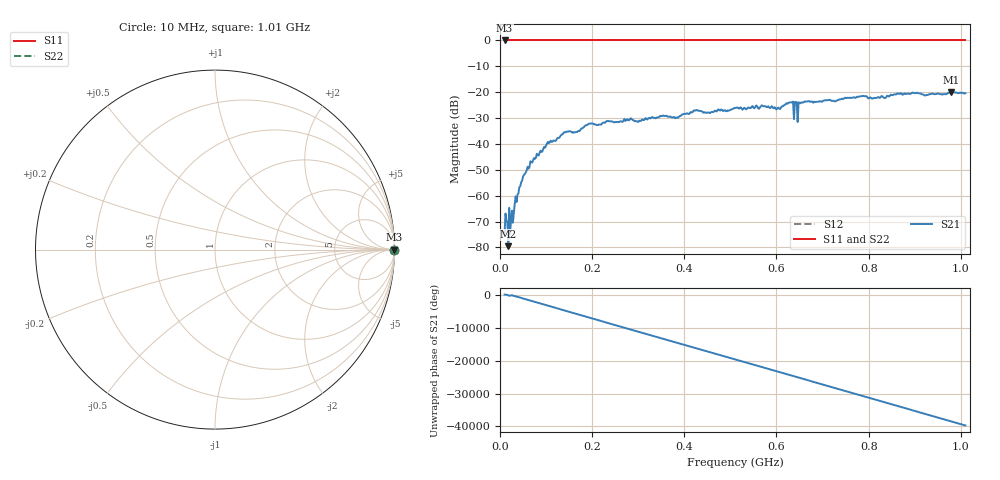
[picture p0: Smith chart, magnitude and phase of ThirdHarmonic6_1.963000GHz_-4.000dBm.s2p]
! 8/16/2025 11:37:15 PM
! C:\ANRITSUVNA\TEMP\TEMP.S2P
! CHANNEL.1
! TR.MEASUREMENT
! RAW.DATA
! RF.CORRECTION.OFF
! AVERAGING.OFF
! IF.BANDWIDTH: 5KHZ
! SWEEPTYPE:  FREQ.SWEEP(Linear)
! Reference Plane Port Info
! PORT:  PORT1  PORT2
! DISTANCE:  0  m  0  m
! TIME:  0  s  0  s
! PHASE.OFFSET:  0  deg.  0  deg.
! LOSS:  0  dB  0  dB
! REF.LOSS:  0  dB  0  dB
! REF.FREQ:  0  Hz  0  Hz
! Power Info
! POWER:  -20  dBm  -20  dBm
! EFF.POWER:  -20  dBm  -20  dBm
! SOURCE.ATTEN:  0  dB  0  dB
! TEST.ATTEN:  0  dB  0  dB
# GHZ S RI R 50.0
! FREQ.GHZ  S11RE  S11IM  S21RE  S21IM  S12RE  S12IM  S22RE  S22IM
!; PortSelection: Port_12
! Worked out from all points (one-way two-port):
!   501 points, 10 MHz to 1.01 GHz, reference 50 ohm
!   highest |S21| = -19.99 dB at 978 MHz (marker M1); lowest = -79.5 dB at 18 MHz (marker M2)
!   lowest |S11| = 0.0 dB at 10 MHz (marker M3)
!   |S11| at or under -10 dB: nowhere
!   |S22| runs from 0.0 to 0.0 dB; largest |S21 - S12| = 1.1
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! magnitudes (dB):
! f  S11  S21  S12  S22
! 10 MHz  0.0  -74.2  0.0  0.0
! 14 MHz  0.0  -69.7  0.0  0.0
! 16 MHz  0.0  -70.1  0.0  0.0
! 18 MHz  0.0  -79.5  0.0  0.0
! 26 MHz  0.0  -65.8  0.0  0.0
! 36 MHz  0.0  -62.4  0.0  0.0
! 46 MHz  0.0  -54.8  0.0  0.0
! 70 MHz  0.0  -47.2  0.0  0.0
! 106 MHz  0.0  -39.7  0.0  0.0
! 142 MHz  0.0  -35.5  0.0  0.0
! 178 MHz  0.0  -33.9  0.0  0.0
! 196 MHz  0.0  -32.1  0.0  0.0
! 344 MHz  0.0  -29.8  0.0  0.0
! 510 MHz  0.0  -26.1  0.0  0.0
! 604 MHz  0.0  -26.0  0.0  0.0
! 632 MHz  0.0  -24.0  0.0  0.0
! 642 MHz  0.0  -23.8  0.0  0.0
! 652 MHz  0.0  -24.3  0.0  0.0
! 678 MHz  0.0  -23.7  0.0  0.0
! 844 MHz  0.0  -21.6  0.0  0.0
! 978 MHz  0.0  -20.0  0.0  0.0
! 1.01 GHz  0.0  -20.4  0.0  0.0
